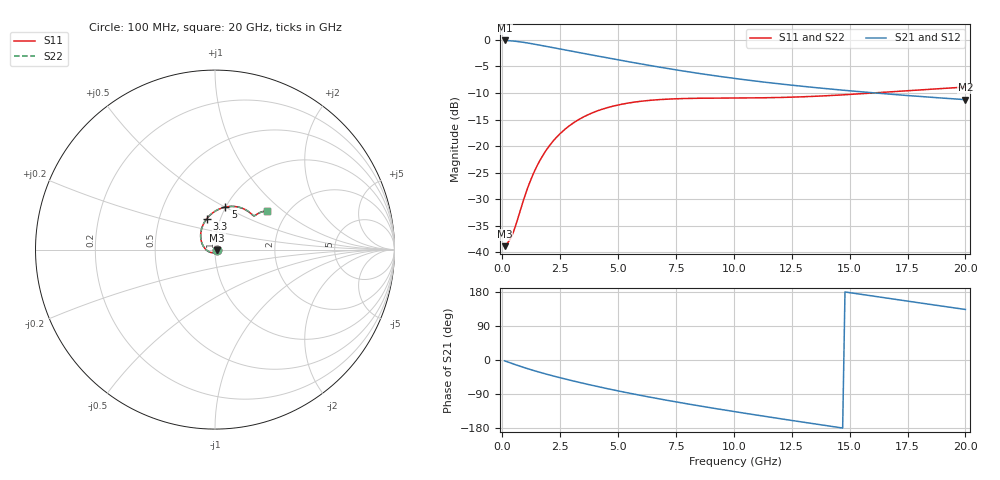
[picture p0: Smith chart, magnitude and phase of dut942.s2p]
! Touchstone file exported from HFSS 2024.1.0
!  File:  C:/UserFiles/LocalFiles/RDL_TSV_Batchsim/temp_RDL_TSV_942_1779963089.aedt
!  Generated:  06:26:30 PM May 28, 2026
!  Design:  RDL_TSV
!  Project:  temp_RDL_TSV_942_1779963089
!  Setup:  Setup1
!  Solution:  Sweep
! Variables:
!  dtsv = 12.78um
!  hbump = 3um
!  htsv = 95.89um
!  ldown = 170.01um
!  lrdl = 628.42um
!  p = 40
!  p1 = 59.97um
!  rhole = 10um
!  subl = 3023.71um
!  t = 450um
!  tdown = 3.29um
!  trdl = 4.47um
!  viad = 10um
!  wdown = 22.06um
!  wrdl = 24.64um
!  xbump = 18um
# GHz S MA R 50.000000
! Terminal data exported
! Port[1] = TM1_1_T1
! Port[2] = TM1_4_T1
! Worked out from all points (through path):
!   200 points, 100 MHz to 20 GHz, reference 50 ohm
!   highest |S21| = -0.11 dB at 100 MHz (marker M1); lowest = -11.2 dB at 20 GHz (marker M2)
!   group delay of S21, straight-line fit = 29.4 ps
!   lowest |S11| = -38.8 dB at 100 MHz (marker M3), VSWR 1.02, Z = 51.1 - j0.335 ohm
!   |S11| at or under -10 dB: start of sweep to 15.97 GHz
!   |S22| runs from -38.8 to -8.9 dB; largest |S21 - S12| = 1.3e-14
!   S11 on the Smith chart (normalised r, x): 100 MHz: 1.02, -0.01; 3.3 GHz: 0.86, +0.31; 5 GHz: 1.00, +0.50; 20 GHz: 1.58, +0.78
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0.1  0.01144 -16.7  0.9879 -2.2  0.9879 -2.2  0.01144 -16.7
! Gamma 0 0 0 0
! Port Impedance 50 0 50 0
0.4  0.01411 -75.5  0.9788 -8.8  0.9788 -8.8  0.0141 -75.5
0.6  0.01854 -111.3  0.969 -13.0  0.969 -13.0  0.01853 -111.3
0.8  0.02575 -138.9  0.9567 -17.1  0.9567 -17.1  0.02575 -139.0
1.2  0.0464 -175.5  0.9269 -24.9  0.9269 -24.9  0.04642 -175.6
1.4  0.05868 171.6  0.9105 -28.6  0.9105 -28.6  0.05872 171.5
1.7  0.07833 155.8  0.8855 -33.9  0.8855 -33.9  0.07839 155.7
2  0.0985 143.0  0.8605 -38.9  0.8605 -38.9  0.09857 142.9
2.4  0.1249 128.9  0.8282 -45.3  0.8282 -45.3  0.125 128.9
2.8  0.1498 117.3  0.7973 -51.4  0.7973 -51.4  0.1499 117.2
3.3  0.1778 105.1  0.7606 -58.7  0.7606 -58.7  0.1779 105.1
3.5  0.1879 100.8  0.7464 -61.6  0.7464 -61.6  0.188 100.8
4.2  0.2183 87.9  0.6992 -71.2  0.6992 -71.2  0.2184 87.9
5  0.244 76.2  0.6494 -81.5  0.6494 -81.5  0.2441 76.2
5.9  0.2631 65.9  0.5986 -92.5  0.5986 -92.5  0.2632 65.9
6.8  0.2743 58.1  0.5536 -102.8  0.5536 -102.8  0.2744 58.0
8.4  0.2821 48.6  0.4869 -120.0  0.4869 -120.0  0.2823 48.6
10.1  0.2837 43.3  0.4319 -136.9  0.4319 -136.9  0.2839 43.2
11.7  0.2862 41.1  0.3917 -152.1  0.3917 -152.1  0.2864 41.1
13.4  0.2939 40.4  0.3578 -167.8  0.3578 -167.8  0.2941 40.4
16.7  0.3241 39.5  0.309 162.5  0.309 162.5  0.3243 39.5
20  0.3601 36.5  0.2739 133.3  0.2739 133.3  0.3602 36.4
